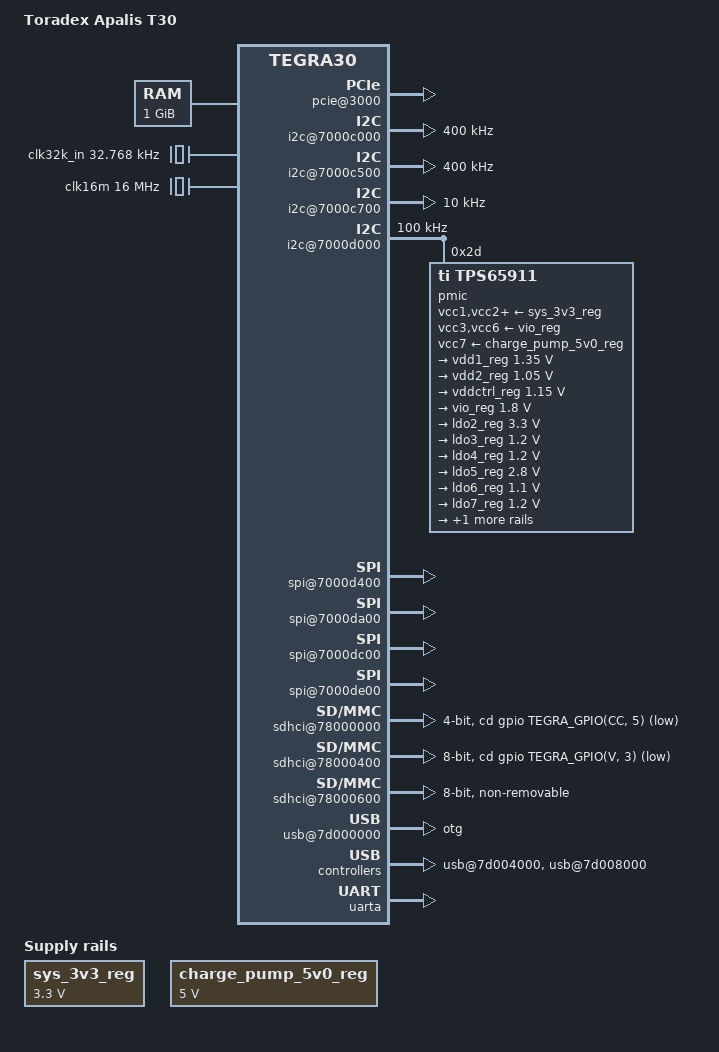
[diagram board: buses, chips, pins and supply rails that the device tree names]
/dts-v1/;

#include "tegra30.dtsi"

/ {
	model = "Toradex Apalis T30";
	compatible = "toradex,apalis_t30", "nvidia,tegra30";

	chosen {
		stdout-path = &uarta;
	};

	aliases {
		i2c0 = "/i2c@7000d000";
		i2c1 = "/i2c@7000c000";
		i2c2 = "/i2c@7000c500";
		i2c3 = "/i2c@7000c700";
		mmc0 = "/sdhci@78000600";
		mmc1 = "/sdhci@78000400";
		mmc2 = "/sdhci@78000000";
		spi0 = "/spi@7000d400";
		spi1 = "/spi@7000dc00";
		spi2 = "/spi@7000de00";
		spi3 = "/spi@7000da00";
		usb0 = "/usb@7d000000";
		usb1 = "/usb@7d004000";
		usb2 = "/usb@7d008000";
	};

	memory {
		device_type = "memory";
		reg = <0x80000000 0x40000000>;
	};

	pcie@3000 {
		status = "okay";
		avdd-pexa-supply = <&vdd2_reg>;
		vdd-pexa-supply = <&vdd2_reg>;
		avdd-pexb-supply = <&vdd2_reg>;
		vdd-pexb-supply = <&vdd2_reg>;
		avdd-pex-pll-supply = <&vdd2_reg>;
		avdd-plle-supply = <&ldo6_reg>;
		vddio-pex-ctl-supply = <&sys_3v3_reg>;
		hvdd-pex-supply = <&sys_3v3_reg>;

		/* Apalis Type Specific 4 Lane PCIe */
		pci@1,0 {
			/* TS_DIFF1/2/3/4 left disabled */
			nvidia,num-lanes = <4>;
		};

		/* Apalis PCIe */
		pci@2,0 {
			/* PCIE1_RX/TX left disabled */
			nvidia,num-lanes = <1>;
		};

		/* I210 Gigabit Ethernet Controller (On-module) */
		pci@3,0 {
			status = "okay";
			nvidia,num-lanes = <1>;
		};
	};

	/*
	 * GEN1_I2C: I2C1_SDA/SCL on MXM3 pin 209/211 (e.g. RTC on carrier
	 * board)
	 */
	i2c@7000c000 {
		status = "okay";
		clock-frequency = <400000>;
	};

	/* GEN2_I2C: unused */

	/*
	 * CAM_I2C: I2C3_SDA/SCL on MXM3 pin 201/203 (e.g. camera sensor on
	 * carrier board)
	 */
	i2c@7000c500 {
		status = "okay";
		clock-frequency = <400000>;
	};

	/* DDC: I2C2_SDA/SCL on MXM3 pin 205/207 (e.g. display EDID) */
	i2c@7000c700 {
		status = "okay";
		clock-frequency = <10000>;
	};

	/*
	 * PWR_I2C: power I2C to audio codec, PMIC, temperature sensor and
	 * touch screen controller
	 */
	i2c@7000d000 {
		status = "okay";
		clock-frequency = <100000>;

		pmic: tps65911@2d {
			compatible = "ti,tps65911";
			reg = <0x2d>;

			interrupts = <GIC_SPI 86 IRQ_TYPE_LEVEL_HIGH>;
			#interrupt-cells = <2>;
			interrupt-controller;

			ti,system-power-controller;

			#gpio-cells = <2>;
			gpio-controller;

			vcc1-supply = <&sys_3v3_reg>;
			vcc2-supply = <&sys_3v3_reg>;
			vcc3-supply = <&vio_reg>;
			vcc4-supply = <&sys_3v3_reg>;
			vcc5-supply = <&sys_3v3_reg>;
			vcc6-supply = <&vio_reg>;
			vcc7-supply = <&charge_pump_5v0_reg>;
			vccio-supply = <&sys_3v3_reg>;

			regulators {
				/* SW1: +V1.35_VDDIO_DDR */
				vdd1_reg: vdd1 {
					regulator-name = "vddio_ddr_1v35";
					regulator-min-microvolt = <1350000>;
					regulator-max-microvolt = <1350000>;
					regulator-always-on;
				};

				/* SW2: +V1.05 */
				vdd2_reg: vdd2 {
					regulator-name =
						"vdd_pexa,vdd_pexb,vdd_sata";
					regulator-min-microvolt = <1050000>;
					regulator-max-microvolt = <1050000>;
				};

				/* SW CTRL: +V1.0_VDD_CPU */
				vddctrl_reg: vddctrl {
					regulator-name = "vdd_cpu,vdd_sys";
					regulator-min-microvolt = <1150000>;
					regulator-max-microvolt = <1150000>;
					regulator-always-on;
				};

				/* SWIO: +V1.8 */
				vio_reg: vio {
					regulator-name = "vdd_1v8_gen";
					regulator-min-microvolt = <1800000>;
					regulator-max-microvolt = <1800000>;
					regulator-always-on;
				};

				/* LDO1: unused */

				/*
				 * EN_+V3.3 switching via FET:
				 * +V3.3_AUDIO_AVDD_S, +V3.3 and +V1.8_VDD_LAN
				 * see also v3_3 fixed supply
				 */
				ldo2_reg: ldo2 {
					regulator-name = "en_3v3";
					regulator-min-microvolt = <3300000>;
					regulator-max-microvolt = <3300000>;
					regulator-always-on;
				};

				/* +V1.2_CSI */
				ldo3_reg: ldo3 {
					regulator-name =
						"avdd_dsi_csi,pwrdet_mipi";
					regulator-min-microvolt = <1200000>;
					regulator-max-microvolt = <1200000>;
				};

				/* +V1.2_VDD_RTC */
				ldo4_reg: ldo4 {
					regulator-name = "vdd_rtc";
					regulator-min-microvolt = <1200000>;
					regulator-max-microvolt = <1200000>;
					regulator-always-on;
				};

				/*
				 * +V2.8_AVDD_VDAC:
				 * only required for analog RGB
				 */
				ldo5_reg: ldo5 {
					regulator-name = "avdd_vdac";
					regulator-min-microvolt = <2800000>;
					regulator-max-microvolt = <2800000>;
					regulator-always-on;
				};

				/*
				 * +V1.05_AVDD_PLLE: avdd_plle should be 1.05V
				 * but LDO6 can't set voltage in 50mV
				 * granularity
				 */
				ldo6_reg: ldo6 {
					regulator-name = "avdd_plle";
					regulator-min-microvolt = <1100000>;
					regulator-max-microvolt = <1100000>;
				};

				/* +V1.2_AVDD_PLL */
				ldo7_reg: ldo7 {
					regulator-name = "avdd_pll";
					regulator-min-microvolt = <1200000>;
					regulator-max-microvolt = <1200000>;
					regulator-always-on;
				};

				/* +V1.0_VDD_DDR_HS */
				ldo8_reg: ldo8 {
					regulator-name = "vdd_ddr_hs";
					regulator-min-microvolt = <1000000>;
					regulator-max-microvolt = <1000000>;
					regulator-always-on;
				};
			};
		};
	};

	/* SPI1: Apalis SPI1 */
	spi@7000d400 {
		status = "okay";
		spi-max-frequency = <25000000>;
	};

	/* SPI4: CAN2 */
	spi@7000da00 {
		status = "okay";
		spi-max-frequency = <25000000>;
	};

	/* SPI5: Apalis SPI2 */
	spi@7000dc00 {
		status = "okay";
		spi-max-frequency = <25000000>;
	};

	/* SPI6: CAN1 */
	spi@7000de00 {
		status = "okay";
		spi-max-frequency = <25000000>;
	};

	sdhci@78000000 {
		status = "okay";
		bus-width = <4>;
		/* SD1_CD# */
		cd-gpios = <&gpio TEGRA_GPIO(CC, 5) GPIO_ACTIVE_LOW>;
	};

	sdhci@78000400 {
		status = "okay";
		bus-width = <8>;
		/* MMC1_CD# */
		cd-gpios = <&gpio TEGRA_GPIO(V, 3) GPIO_ACTIVE_LOW>;
	};

	sdhci@78000600 {
		status = "okay";
		bus-width = <8>;
		non-removable;
	};

	/* EHCI instance 0: USB1_DP/N -> USBO1_DP/N */
	usb@7d000000 {
		status = "okay";
		dr_mode = "otg";
		/* USBO1_EN */
		nvidia,vbus-gpio = <&gpio TEGRA_GPIO(T, 5) GPIO_ACTIVE_HIGH>;
	};

	/* EHCI instance 1: USB2_DP/N -> USBH2_DP/N */
	usb@7d004000 {
		status = "okay";
		/* USBH_EN */
		nvidia,vbus-gpio = <&gpio TEGRA_GPIO(DD, 1) GPIO_ACTIVE_HIGH>;
	};

	/* EHCI instance 2: USB3_DP/N -> USBH3_DP/N */
	usb@7d008000 {
		status = "okay";
		/* USBH_EN */
		nvidia,vbus-gpio = <&gpio TEGRA_GPIO(DD, 1) GPIO_ACTIVE_HIGH>;
	};

	clocks {
		compatible = "simple-bus";
		#address-cells = <1>;
		#size-cells = <0>;

		clk32k_in: clk@0 {
			compatible = "fixed-clock";
			reg=<0>;
			#clock-cells = <0>;
			clock-frequency = <32768>;
		};
		clk16m: clk@1 {
			compatible = "fixed-clock";
			reg=<1>;
			#clock-cells = <0>;
			clock-frequency = <16000000>;
			clock-output-names = "clk16m";
		};
	};

	regulators {
		compatible = "simple-bus";
		#address-cells = <1>;
		#size-cells = <0>;

		sys_3v3_reg: regulator@100 {
			compatible = "regulator-fixed";
			reg = <100>;
			regulator-name = "3v3";
			regulator-min-microvolt = <3300000>;
			regulator-max-microvolt = <3300000>;
			regulator-always-on;
		};

		charge_pump_5v0_reg: regulator@101 {
			compatible = "regulator-fixed";
			reg = <101>;
			regulator-name = "5v0";
			regulator-min-microvolt = <5000000>;
			regulator-max-microvolt = <5000000>;
			regulator-always-on;
		};
	};
};

&uarta {
	status = "okay";
};
